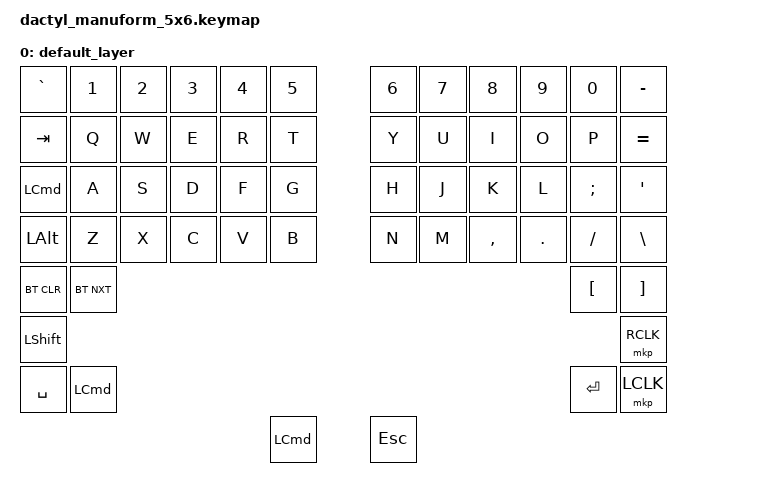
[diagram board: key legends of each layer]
#include <behaviors.dtsi>
#include <dt-bindings/zmk/keys.h>
#include <dt-bindings/zmk/mouse.h>
#include <dt-bindings/zmk/bt.h>
#include <dt-bindings/zmk/ext_power.h>
#include <dt-bindings/zmk/outputs.h>

#include "mouse.dtsi"

#define DEFAULT 0

/ {
    keymap {
        compatible = "zmk,keymap";

        default_layer {
            bindings = <
              &kp GRAVE       &kp NUMBER_1  &kp NUMBER_2  &kp NUMBER_3  &kp NUMBER_4  &kp NUMBER_5                          &kp NUMBER_6  &kp NUMBER_7  &kp NUMBER_8  &kp NUMBER_9  &kp NUMBER_0   &kp MINUS
              &kp TAB         &kp Q         &kp W         &kp E         &kp R         &kp T                                 &kp Y         &kp U         &kp I         &kp O         &kp P          &kp EQUAL
              &kp LCMD        &kp A         &kp S         &kp D         &kp F         &kp G                                 &kp H         &kp J         &kp K         &kp L         &kp SEMICOLON  &kp SINGLE_QUOTE
              &kp LALT        &kp Z         &kp X         &kp C         &kp V         &kp B                                                      &kp N         &kp M         &kp COMMA     &kp PERIOD    &kp SLASH      &kp BACKSLASH
                                            &bt BT_CLR    &bt BT_NXT                                                                                                           &kp LBKT      &kp RBKT

                                                                                         &kp LEFT_SHIFT                     &mkp RCLK
                                                                                &kp SPACE   &kp LCMD  &kp ENTER                      &mkp LCLK
                                                                                                                            &kp LCMD  &kp ESCAPE
            >;
        };
    };
};
